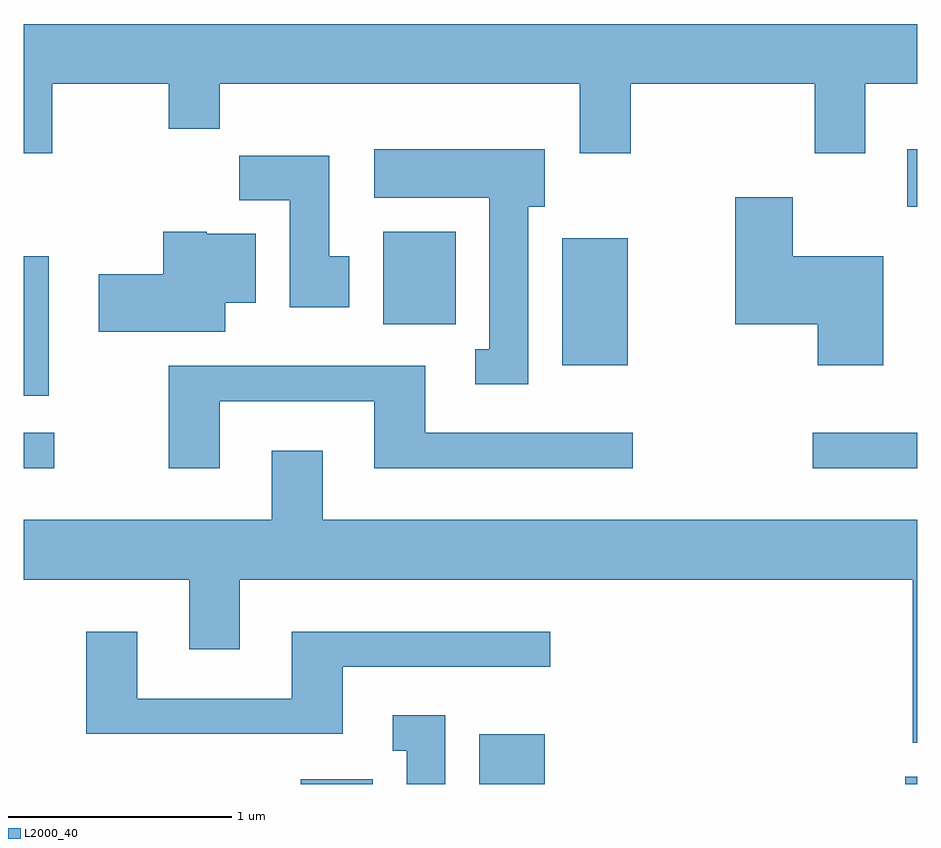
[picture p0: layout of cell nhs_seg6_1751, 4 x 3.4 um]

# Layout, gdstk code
import gdstk
lib = gdstk.Library(unit=1e-6, precision=1e-09)
def R(c, l, rs):  # rectangles x0, y0, x1, y1
    for r in rs: c.add(gdstk.rectangle(r[:2], r[2:], *l))
def P(c, l, *ps):  # polygons
    for p in ps: c.add(gdstk.Polygon(p, *l))
L2000_40 = (2000, 40)

nhs_seg6_1751 = lib.new_cell('nhs_seg6_1751')
R(nhs_seg6_1751, L2000_40, [(238.851,1620.162,239.174,1620.184), (239.651,1620.162,239.944,1620.384), (241.556,1620.162,241.611,1620.194), (237.611,1621.576,237.748,1621.734), (241.143,1621.576,241.611,1621.734), (237.611,1621.901,237.724,1622.524), (240.021,1622.036,240.314,1622.604), (239.221,1622.221,239.544,1622.634), (241.566,1622.746,241.611,1623.004)])
P(nhs_seg6_1751, L2000_40, [(237.739,1623.296),(238.261,1623.296),(238.261,1623.096),(238.489,1623.096),(238.489,1623.296),(240.101,1623.296),(240.101,1622.986),(240.329,1622.986),(240.329,1623.296),(241.151,1623.296),(241.151,1622.986),(241.379,1622.986),(241.379,1623.296),(241.611,1623.296),(241.611,1623.564),(237.611,1623.564),(237.611,1622.986),(237.739,1622.986)],
  [(239.869,1622.746),(239.944,1622.746),(239.944,1623.004),(239.181,1623.004),(239.181,1622.786),(239.696,1622.786),(239.696,1622.109),(239.633,1622.109),(239.633,1621.951),(239.869,1621.951)],
  [(239.069,1622.524),(238.979,1622.524),(238.979,1622.974),(238.576,1622.974),(238.576,1622.776),(238.801,1622.776),(238.801,1622.296),(239.069,1622.296)],
  [(241.459,1622.524),(241.054,1622.524),(241.054,1622.789),(240.796,1622.789),(240.796,1622.221),(241.166,1622.221),(241.166,1622.036),(241.459,1622.036)],
  [(238.514,1622.316),(238.649,1622.316),(238.649,1622.624),(238.43,1622.624),(238.43,1622.634),(238.236,1622.634),(238.236,1622.444),(237.946,1622.444),(237.946,1622.186),(238.514,1622.186)],
  [(238.489,1621.876),(239.181,1621.876),(239.181,1621.576),(240.338,1621.576),(240.338,1621.734),(239.409,1621.734),(239.409,1622.034),(238.261,1622.034),(238.261,1621.576),(238.489,1621.576)],
  [(241.611,1621.344),(238.949,1621.344),(238.949,1621.654),(238.721,1621.654),(238.721,1621.344),(237.611,1621.344),(237.611,1621.076),(238.351,1621.076),(238.351,1620.766),(238.579,1620.766),(238.579,1621.076),(241.591,1621.076),(241.591,1620.346),(241.611,1620.346)],
  [(239.039,1620.686),(239.968,1620.686),(239.968,1620.844),(238.811,1620.844),(238.811,1620.544),(238.119,1620.544),(238.119,1620.844),(237.891,1620.844),(237.891,1620.386),(239.039,1620.386)],
  [(239.499,1620.469),(239.263,1620.469),(239.263,1620.311),(239.326,1620.311),(239.326,1620.162),(239.499,1620.162)])

lib.write_gds('nhs_seg6_1751.gds')
